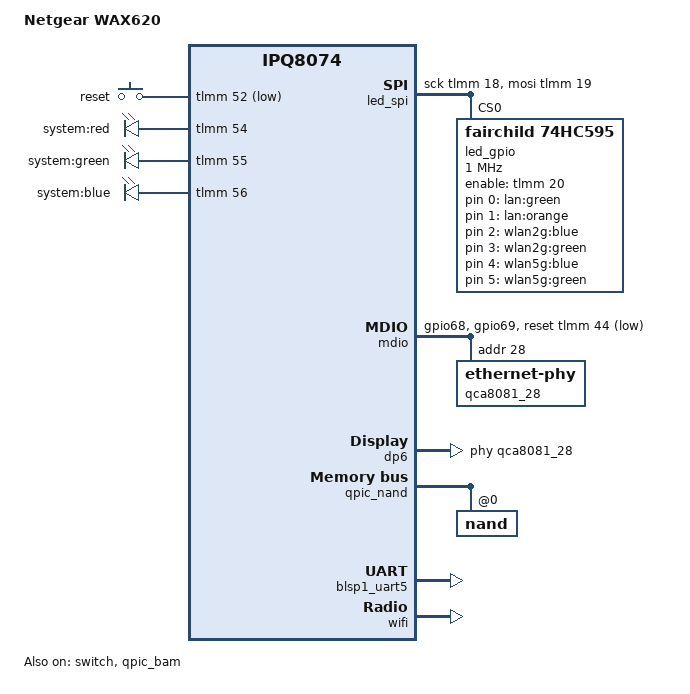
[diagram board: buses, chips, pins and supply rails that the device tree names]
// SPDX-License-Identifier: GPL-2.0-or-later OR MIT

/dts-v1/;

#include "ipq8074.dtsi"
#include "ipq8074-hk-cpu.dtsi"
#include "ipq8074-ess.dtsi"
#include "ipq8074-nss.dtsi"
#include <dt-bindings/input/input.h>
#include <dt-bindings/gpio/gpio.h>

/ {
	model = "Netgear WAX620";
	compatible = "netgear,wax620", "qcom,ipq8074";

	aliases {
		serial0 = &blsp1_uart5;
		ethernet0 = &dp6;
		led-boot = &led_system_blue;
		led-failsafe = &led_system_red;
		led-running = &led_system_green;
		led-upgrade = &led_system_blue;
	};

	chosen {
		stdout-path = "serial0:115200n8";
		/*
		 * Netgear's U-Boot adds "ubi.mtd=rootfs root=mtd:ubi_rootfs"
		 * That fails to create a UBI block device, so add it here.
		*/
		bootargs-append = " root=/dev/ubiblock0_1";
	};

	keys {
		compatible = "gpio-keys";

		reset {
			label = "reset";
			gpios = <&tlmm 52 GPIO_ACTIVE_LOW>;
			linux,code = <KEY_RESTART>;
		};
	};

	led_spi {
		compatible = "spi-gpio";
		#address-cells = <1>;
		#size-cells = <0>;

		sck-gpios = <&tlmm 18 GPIO_ACTIVE_HIGH>;
		mosi-gpios = <&tlmm 19 GPIO_ACTIVE_HIGH>;

		led_gpio: led_gpio@0 {
			compatible = "fairchild,74hc595";
			reg = <0>;
			gpio-controller;
			#gpio-cells = <2>;
			registers-number = <1>;
			enable-gpios = <&tlmm 20 GPIO_ACTIVE_HIGH>;
			spi-max-frequency = <1000000>;
		};
	};

	leds {
		compatible = "gpio-leds";

		led_system_red: system-red {
			label = "system:red";
			gpios = <&tlmm 54 GPIO_ACTIVE_HIGH>;
		};

		led_system_green: system-green {
			label = "system:green";
			gpios = <&tlmm 55 GPIO_ACTIVE_HIGH>;
		};

		led_system_blue: system-blue {
			label = "system:blue";
			gpios = <&tlmm 56 GPIO_ACTIVE_HIGH>;
		};

		led_lan_g {
			label = "lan:green";
			gpios = <&led_gpio 0 GPIO_ACTIVE_HIGH>;
		};

		led_lan_o {
			label = "lan:orange";
			gpios = <&led_gpio 1 GPIO_ACTIVE_HIGH>;
		};

		led_2g_b {
			label = "wlan2g:blue";
			gpios = <&led_gpio 2 GPIO_ACTIVE_HIGH>;
		};

		led_2g_g {
			label = "wlan2g:green";
			gpios = <&led_gpio 3 GPIO_ACTIVE_HIGH>;
		};

		led_5g_b {
			label = "wlan5g:blue";
			gpios = <&led_gpio 4 GPIO_ACTIVE_HIGH>;
		};

		led_5g_g {
			label = "wlan5g:green";
			gpios = <&led_gpio 5 GPIO_ACTIVE_HIGH>;
		};
	};
};

&edma {
	status = "okay";
};

&switch {
	status = "okay";

	switch_cpu_bmp = <0x01>;
	switch_lan_bmp = <0x3e>;
	switch_wan_bmp = <0x40>;
	switch_mac_mode = <0x00>;
	switch_mac_mode1 = <0xff>;
	switch_mac_mode2 = <0x0f>;
	bm_tick_mode = <0x00>;
	tm_tick_mode = <0x00>;

	qcom,port_phyinfo {
		port@5 {
			port_id = <6>;
			phy_address = <28>;
			port_mac_sel = "QGMAC_PORT";
		};
	};
};

&tlmm {
	mdio_pins: mdio-pins {
		mdc {
			pins = "gpio68";
			function = "mdc";
			drive-strength = <8>;
			bias-pull-up;
		};

		mdio {
			pins = "gpio69";
			function = "mdio";
			drive-strength = <8>;
			bias-pull-up;
		};
	};
};

&mdio {
	status = "okay";

	pinctrl-0 = <&mdio_pins>;
	pinctrl-names = "default";
	reset-gpios = <&tlmm 44 GPIO_ACTIVE_LOW>;

	qca8081_28: ethernet-phy@28 {
		reg = <28>;
	};
};

&dp6 {
	status = "okay";
	phy-handle = <&qca8081_28>;
	label = "lan";
};

&qpic_bam {
	status = "okay";
};

&qpic_nand {
	status = "okay";

	nand@0 {
		reg = <0>;
		nand-ecc-strength = <4>;
		nand-ecc-step-size = <512>;
		nand-bus-width = <8>;

		partitions {
			compatible = "qcom,smem-part";
		};
	};
};

&blsp1_uart5 {
	status = "okay";
};

&wifi {
	status = "okay";

	qcom,ath11k-calibration-variant = "Netgear-WAX620";
};
